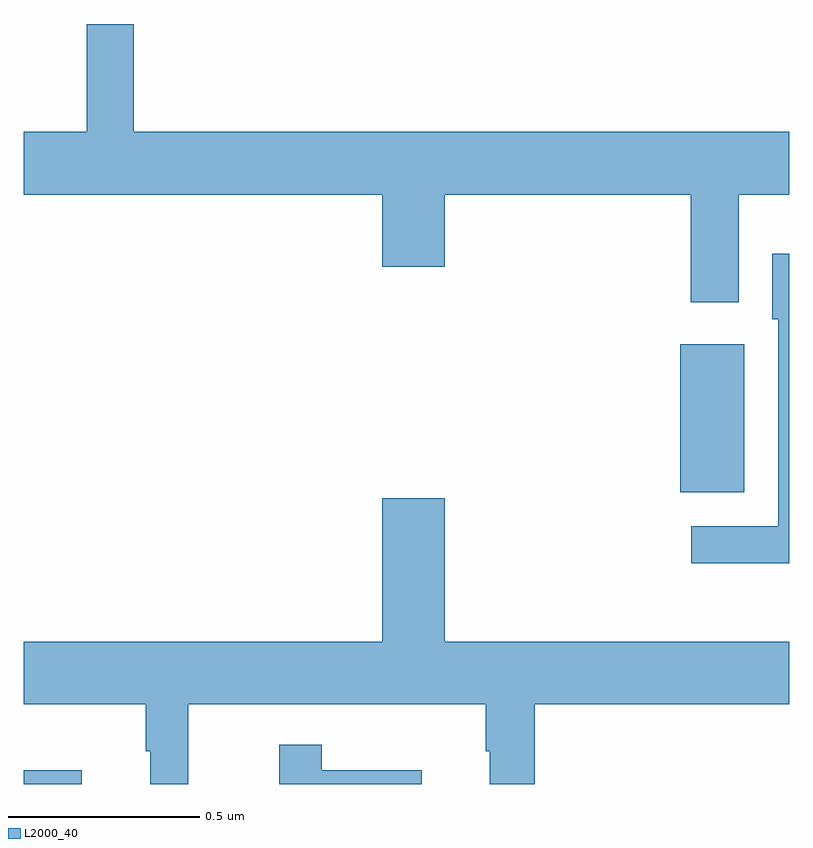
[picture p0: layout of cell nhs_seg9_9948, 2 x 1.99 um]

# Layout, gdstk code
import gdstk
lib = gdstk.Library(unit=1e-6, precision=1e-09)
def R(c, l, rs):  # rectangles x0, y0, x1, y1
    for r in rs: c.add(gdstk.rectangle(r[:2], r[2:], *l))
def P(c, l, *ps):  # polygons
    for p in ps: c.add(gdstk.Polygon(p, *l))
L2000_40 = (2000, 40)

nhs_seg9_9948 = lib.new_cell('nhs_seg9_9948')
R(nhs_seg9_9948, L2000_40, [(236,1241.5,236.152,1241.536), (237.716,1242.263,237.883,1242.649)])
P(nhs_seg9_9948, L2000_40, [(237.868,1243.04),(238,1243.04),(238,1243.204),(236.287,1243.204),(236.287,1243.486),(236.165,1243.486),(236.165,1243.204),(236,1243.204),(236,1243.04),(236.936,1243.04),(236.936,1242.852),(237.1,1242.852),(237.1,1243.04),(237.743,1243.04),(237.743,1242.759),(237.868,1242.759)],
  [(238,1242.886),(237.956,1242.886),(237.956,1242.714),(237.972,1242.714),(237.972,1242.174),(237.744,1242.174),(237.744,1242.077),(238,1242.077)],
  [(236.43,1241.708),(237.207,1241.708),(237.207,1241.585),(237.218,1241.585),(237.218,1241.5),(237.335,1241.5),(237.335,1241.708),(238,1241.708),(238,1241.872),(237.1,1241.872),(237.1,1242.247),(236.936,1242.247),(236.936,1241.872),(236,1241.872),(236,1241.708),(236.319,1241.708),(236.319,1241.585),(236.33,1241.585),(236.33,1241.5),(236.43,1241.5)],
  [(237.04,1241.536),(236.779,1241.536),(236.779,1241.602),(236.668,1241.602),(236.668,1241.5),(237.04,1241.5)])

lib.write_gds('nhs_seg9_9948.gds')
